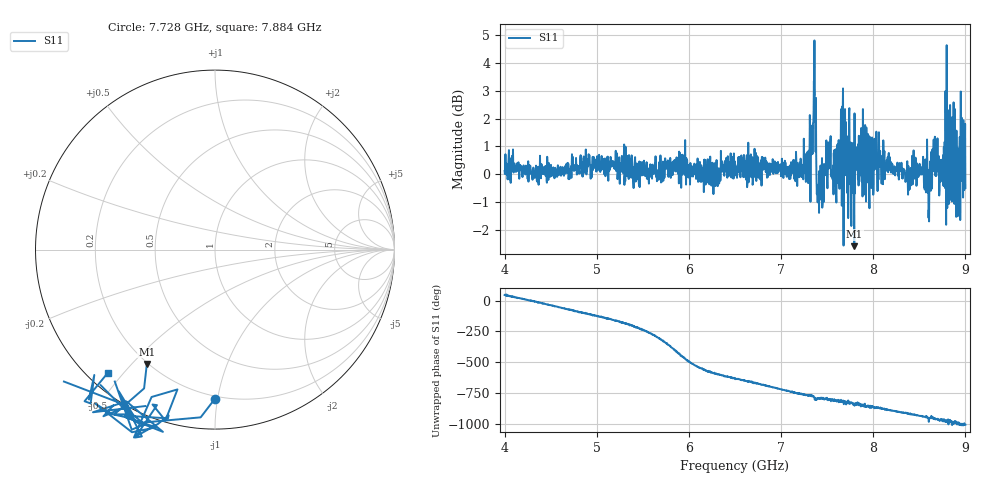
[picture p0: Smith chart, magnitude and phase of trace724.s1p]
! Created with skrf 1.8.0 (http://scikit-rf.org).
# Hz S RI R 50.0
!freq ReS11 ImS11
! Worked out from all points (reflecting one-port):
!   1601 points, 4 GHz to 9 GHz, reference 50 ohm
!   lowest |S11| = -2.6 dB at 7.794 GHz (marker M1), VSWR 6.75, Z = 9.73 - j27.6 ohm
!   phase of S11 starts at 45 deg and turns -1052 deg over the sweep
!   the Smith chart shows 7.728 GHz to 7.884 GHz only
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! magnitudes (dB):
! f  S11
! 4 GHz  0.1
! 4.625 GHz  0.0
! 5.25 GHz  -0.3
! 5.875 GHz  0.2
! 6.5 GHz  0.5
! 7.125 GHz  0.2
! 7.281 GHz  0.6
! 7.316 GHz  1.1
! 7.353 GHz  2.2
! 7.409 GHz  -0.4
! 7.512 GHz  1.1
! 7.622 GHz  0.2
! 7.669 GHz  2.2
! 7.75 GHz  -0.4
! 7.762 GHz  -1.9
! 7.769 GHz  -0.6
! 7.794 GHz  -2.6
! 7.862 GHz  0.0
! 8.375 GHz  -0.1
! 8.522 GHz  0.1
! 8.584 GHz  1.2
! 8.656 GHz  1.2
! 8.756 GHz  0.5
! 8.819 GHz  -1.1
! 8.841 GHz  1.6
! 8.919 GHz  0.1
! 8.972 GHz  0.8
! 9 GHz  -0.5
